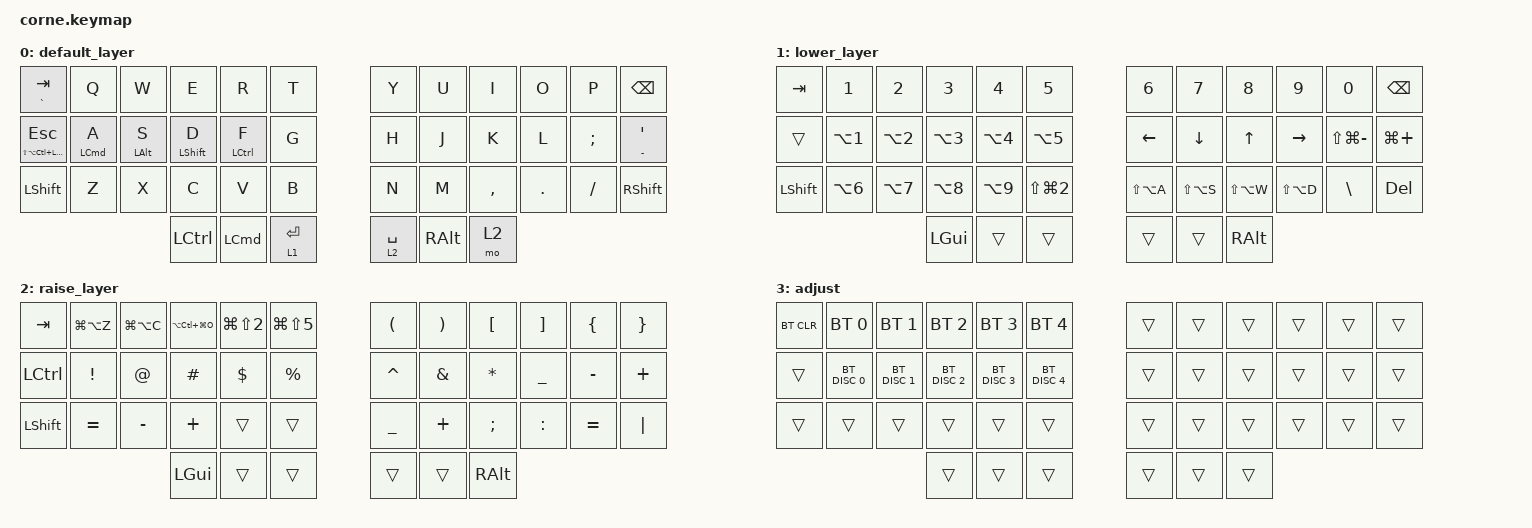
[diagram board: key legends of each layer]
/*
 * Copyright (c) 2020 The ZMK Contributors
 *
 * SPDX-License-Identifier: MIT
 */

#include <behaviors.dtsi>
#include <dt-bindings/zmk/bt.h>
#include <dt-bindings/zmk/keys.h>

/ {
    behaviors {
        hmr: hmr {
            compatible = "zmk,behavior-hold-tap";
            label = "HMR";
            bindings = <&kp>, <&kp>;

            #binding-cells = <2>;
            tapping-term-ms = <280>;
            quick-tap-ms = <175>;
            require-prior-idle-ms = <150>;
            flavor = "balanced";
            hold-trigger-key-positions = <0 13 14 15 16>;
        };
    };

    combos {
        compatible = "zmk,combos";

        caps-toggle {
            bindings = <&caps_word>;
            key-positions = <24 35>;
        };

        resert-bluetooth {
            bindings = <&bt BT_CLR_ALL>;
            key-positions = <0 11>;
        };

        next-bt-profile {
            bindings = <&bt BT_NXT>;
            key-positions = <5 6>;
        };

        disconnect-bluetooth-profile {
            bindings = <&bt BT_CLR>;
            key-positions = <17 18>;
        };

        b {
            bindings = <&sys_reset>;
            key-positions = <29 30>;
        };

        clear-left-side {
            bindings = <&bt BT_CLR_ALL>;
            key-positions = <36 37>;
        };

        reset-left {
            bindings = <&sys_reset>;
            key-positions = <12 36>;
        };

        conncet-1-left {
            bindings = <&bt BT_SEL 0>;
            key-positions = <24 36>;
        };
    };

    keymap {
        compatible = "zmk,keymap";

        default_layer {
            // -----------------------------------------------------------------------------------------
            // |  TAB |  Q  |  W  |  E  |  R  |  T  |   |  Y  |  U   |  I  |  O  |  P  | BSPC |
            // | CTRL |  A  |  S  |  D  |  F  |  G  |   |  H  |  J   |  K  |  L  |  ;  |  '   |
            // | SHFT |  Z  |  X  |  C  |  V  |  B  |   |  N  |  M   |  ,  |  .  |  /  | ESC  |
            //                    | GUI | LWR | SPC |   | ENT | RSE  | ALT |

            bindings = <
&hmr GRAVE TAB                       &kp Q                &kp W            &kp E              &kp R                &kp T          &kp Y        &kp U          &kp I      &kp O    &kp P     &kp BSPC
&mt LS(LA(LC(LEFT_COMMAND))) ESCAPE  &hmr LEFT_COMMAND A  &hmr LEFT_ALT S  &hmr LEFT_SHIFT D  &hmr LEFT_CONTROL F  &kp G          &kp H        &kp J          &kp K      &kp L    &kp SEMI  &mt MINUS SQT
&kp LSHFT                            &kp Z                &kp X            &kp C              &kp V                &kp B          &kp N        &kp M          &kp COMMA  &kp DOT  &kp FSLH  &kp RIGHT_SHIFT
                                                                           &kp LEFT_CONTROL   &kp LEFT_COMMAND     &lt 1 ENTER    &lt 2 SPACE  &kp RIGHT_ALT  &mo 2
            >;
        };

        lower_layer {
            // -----------------------------------------------------------------------------------------
            // |  TAB |  1  |  2  |  3  |  4  |  5  |   |  6  |  7  |  8  |  9  |  0  | BSPC |
            // | BTCLR| BT1 | BT2 | BT3 | BT4 | BT5 |   | LFT | DWN |  UP | RGT |     |      |
            // | SHFT |     |     |     |     |     |   |     |     |     |     |     |      |
            //                    | GUI |     | SPC |   | ENT |     | ALT |

            bindings = <
&kp TAB    &kp N1            &kp N2            &kp N3            &kp N4            &kp N5                  &kp N6         &kp N7         &kp N8         &kp N9         &kp N0             &kp BSPC
&trans     &kp LA(NUMBER_1)  &kp LA(NUMBER_2)  &kp LA(NUMBER_3)  &kp LA(NUMBER_4)  &kp LA(N5)              &kp LEFT       &kp DOWN       &kp UP         &kp RIGHT      &kp LS(LG(MINUS))  &kp LG(PLUS)
&kp LSHFT  &kp LA(NUMBER_6)  &kp LA(N7)        &kp LA(N8)        &kp LA(N9)        &kp LS(LG(NUMBER_2))    &kp LS(LA(A))  &kp LS(LA(S))  &kp LS(LA(W))  &kp LS(LA(D))  &kp BACKSLASH      &kp DEL
                                               &kp LGUI          &trans            &trans                  &trans         &trans         &kp RALT
            >;
        };

        raise_layer {
            // -----------------------------------------------------------------------------------------
            // |  TAB |  !  |  @  |  #  |  $  |  %  |   |  ^  |  &  |  *  |  (  |  )  | BSPC |
            // | CTRL |     |     |     |     |     |   |  -  |  =  |  [  |  ]  |  \  |  `   |
            // | SHFT |     |     |     |     |     |   |  _  |  +  |  {  |  }  | "|" |  ~   |
            //                    | GUI |     | SPC |   | ENT |     | ALT |

            bindings = <
&kp TAB    &kp LG(LA(Z))    &kp LG(LA(C))  &kp LA(LC(LG(O)))  &kp LG(LS(NUMBER_2))  &kp LG(LS(N5))    &kp LEFT_PARENTHESIS  &kp RIGHT_PARENTHESIS  &kp LEFT_BRACKET  &kp RIGHT_BRACKET  &kp LEFT_BRACE  &kp RIGHT_BRACE
&kp LCTRL  &kp EXCLAMATION  &kp AT         &kp HASH           &kp DOLLAR            &kp PERCENT       &kp CARET             &kp AMPERSAND          &kp ASTERISK      &kp UNDERSCORE     &kp MINUS       &kp PLUS
&kp LSHFT  &kp EQUAL        &kp MINUS      &kp PLUS           &trans                &trans            &kp UNDER             &kp PLUS               &kp SEMICOLON     &kp COLON          &kp EQUAL       &kp PIPE
                                           &kp LGUI           &trans                &trans            &trans                &trans                 &kp RALT
            >;
        };

        adjust {
            bindings = <
&bt BT_CLR  &bt BT_SEL 0   &bt BT_SEL 1   &bt BT_SEL 2   &bt BT_SEL 3   &bt BT_SEL 4     &trans  &trans  &trans  &trans  &trans  &trans
&trans      &bt BT_DISC 0  &bt BT_DISC 1  &bt BT_DISC 2  &bt BT_DISC 3  &bt BT_DISC 4    &trans  &trans  &trans  &trans  &trans  &trans
&trans      &trans         &trans         &trans         &trans         &trans           &trans  &trans  &trans  &trans  &trans  &trans
                                          &trans         &trans         &trans           &trans  &trans  &trans
            >;
        };
    };

    conditional_layers {
        compatible = "zmk,conditional-layers";

        adjust_layer {
            if-layers = <1 2>;
            then-layer = <3>;
        };
    };
};
